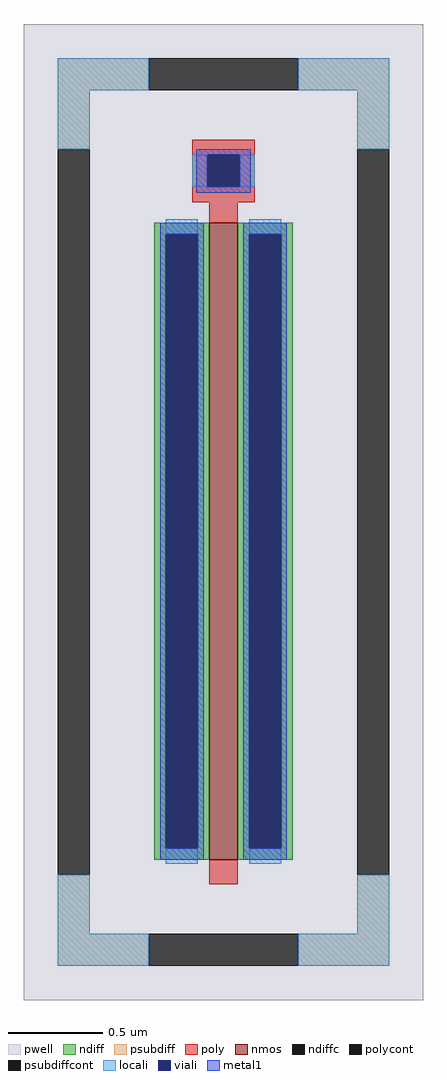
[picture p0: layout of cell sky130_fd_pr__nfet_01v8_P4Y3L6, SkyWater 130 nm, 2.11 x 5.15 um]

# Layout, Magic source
magic
tech sky130A
magscale 1 2
<< pwell >>
rect -211 -515 211 515
<< nmos >>
rect -15 -367 15 305
<< ndiff >>
rect -73 293 -15 305
rect -73 -355 -61 293
rect -27 -355 -15 293
rect -73 -367 -15 -355
rect 15 293 73 305
rect 15 -355 27 293
rect 61 -355 73 293
rect 15 -367 73 -355
<< ndiffc >>
rect -61 -355 -27 293
rect 27 -355 61 293
<< psubdiff >>
rect -175 445 -79 479
rect 79 445 175 479
rect -175 383 -141 445
rect 141 383 175 445
rect -175 -445 -141 -383
rect 141 -445 175 -383
rect -175 -479 -79 -445
rect 79 -479 175 -445
<< psubdiffcont >>
rect -79 445 79 479
rect -175 -383 -141 383
rect 141 -383 175 383
rect -79 -479 79 -445
<< poly >>
rect -33 377 33 393
rect -33 343 -17 377
rect 17 343 33 377
rect -33 327 33 343
rect -15 305 15 327
rect -15 -393 15 -367
<< polycont >>
rect -17 343 17 377
<< locali >>
rect -175 445 -79 479
rect 79 445 175 479
rect -175 383 -141 445
rect 141 383 175 445
rect -33 343 -17 377
rect 17 343 33 377
rect -61 293 -27 309
rect -61 -371 -27 -355
rect 27 293 61 309
rect 27 -371 61 -355
rect -175 -445 -141 -383
rect 141 -445 175 -383
rect -175 -479 -79 -445
rect 79 -479 175 -445
<< viali >>
rect -17 343 17 377
rect -61 -355 -27 293
rect 27 -355 61 293
<< metal1 >>
rect -29 377 29 383
rect -29 343 -17 377
rect 17 343 29 377
rect -29 337 29 343
rect -67 293 -21 305
rect -67 -355 -61 293
rect -27 -355 -21 293
rect -67 -367 -21 -355
rect 21 293 67 305
rect 21 -355 27 293
rect 61 -355 67 293
rect 21 -367 67 -355
<< properties >>
string FIXED_BBOX -158 -462 158 462
string gencell sky130_fd_pr__nfet_01v8
string library sky130
string parameters w 3.36 l 0.15 m 1 nf 1 diffcov 100 polycov 100 guard 1 glc 1 grc 1 gtc 1 gbc 1 tbcov 100 rlcov 100 topc 1 botc 0 poverlap 0 doverlap 1 lmin 0.15 wmin 0.42 compatible {sky130_fd_pr__nfet_01v8 sky130_fd_pr__nfet_01v8_lvt  sky130_fd_bs_flash__special_sonosfet_star  sky130_fd_pr__nfet_g5v0d10v5 sky130_fd_pr__nfet_05v0_nvt  sky130_fd_pr__nfet_03v3_nvt} full_metal 1 viasrc 100 viadrn 100 viagate 100 viagb 0 viagr 0 viagl 0 viagt 0
<< end >>
